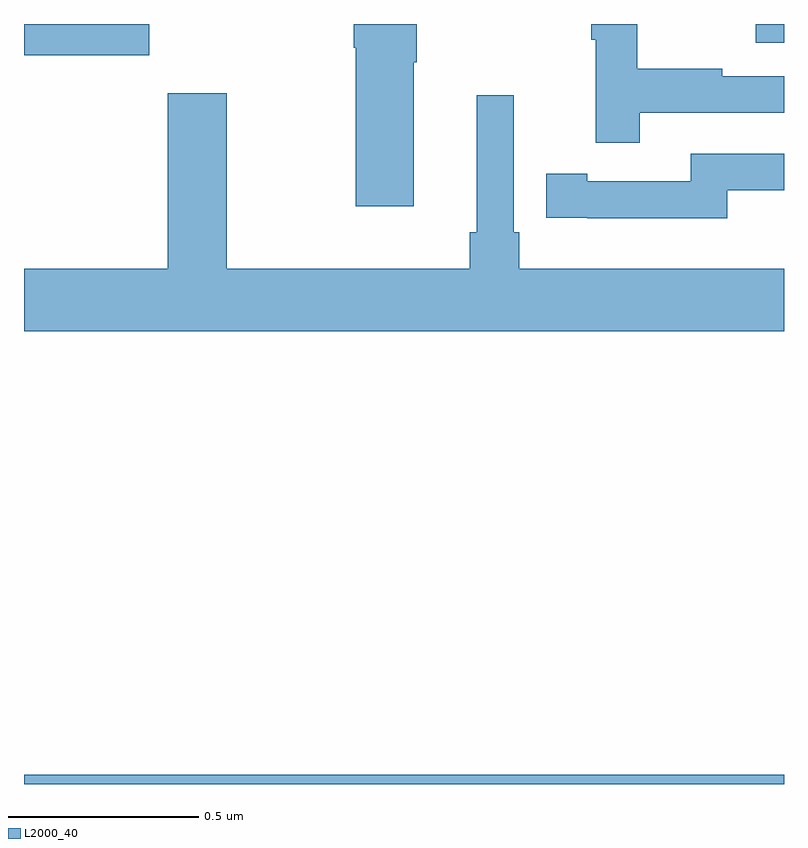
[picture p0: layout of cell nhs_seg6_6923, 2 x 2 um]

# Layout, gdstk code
import gdstk
lib = gdstk.Library(unit=1e-6, precision=1e-09)
def R(c, l, rs):  # rectangles x0, y0, x1, y1
    for r in rs: c.add(gdstk.rectangle(r[:2], r[2:], *l))
def P(c, l, *ps):  # polygons
    for p in ps: c.add(gdstk.Polygon(p, *l))
L2000_40 = (2000, 40)

nhs_seg6_6923 = lib.new_cell('nhs_seg6_6923')
R(nhs_seg6_6923, L2000_40, [(202,923.5,204,923.524), (202,925.418,202.33,925.5), (203.925,925.451,204,925.5)])
P(nhs_seg6_6923, L2000_40, [(203.621,925.266),(204,925.266),(204,925.362),(203.837,925.362),(203.837,925.382),(203.614,925.382),(203.614,925.5),(203.493,925.5),(203.493,925.459),(203.504,925.459),(203.504,925.188),(203.621,925.188)],
  [(203.026,925.399),(203.034,925.399),(203.034,925.5),(202.868,925.5),(202.868,925.437),(202.873,925.437),(202.873,925.02),(203.026,925.02)],
  [(204,924.856),(203.303,924.856),(203.303,924.952),(203.289,924.952),(203.289,925.312),(203.192,925.312),(203.192,924.952),(203.173,924.952),(203.173,924.856),(202.533,924.856),(202.533,925.318),(202.378,925.318),(202.378,924.856),(202,924.856),(202,924.692),(204,924.692)],
  [(203.85,925.062),(204,925.062),(204,925.158),(203.754,925.158),(203.754,925.086),(203.482,925.086),(203.482,925.106),(203.374,925.106),(203.374,924.99),(203.482,924.99),(203.482,924.989),(203.85,924.989)])

lib.write_gds('nhs_seg6_6923.gds')
